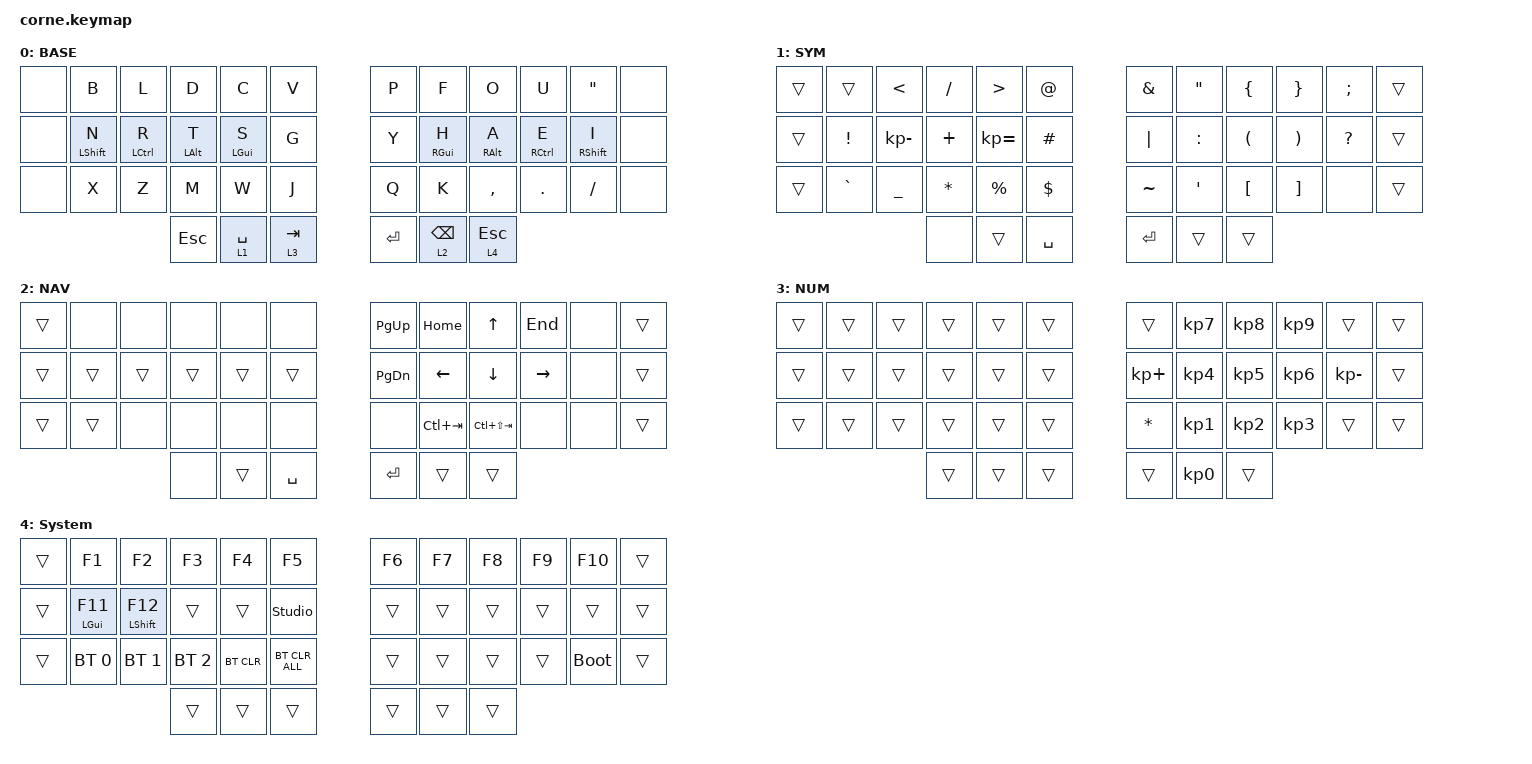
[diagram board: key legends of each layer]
#include <behaviors.dtsi>
#include <dt-bindings/zmk/bt.h>
#include <dt-bindings/zmk/keys.h>

#define BASE 0
#define SYM 1
#define NAV 2
#define NUM 3
#define ADJ 4

//testing mouse movement and scroll binds...

/ {
    behaviors {
        hm: homerow_mods {
            compatible = "zmk,behavior-hold-tap";
            label = "HOMEROW_MODS";
            #binding-cells = <2>;
            tapping-term-ms = <200>;
            quick_tap_ms = <0>;
            flavor = "tap-preferred";
            bindings = <&kp>, <&kp>;

            quick-tap-ms = <180>;
            global-quick-tap;
        };

        hm_250: homerow_mods_250 {
            compatible = "zmk,behavior-hold-tap";
            label = "HOMEROW_MODS_250";
            #binding-cells = <2>;
            tapping-term-ms = <250>;
            quick_tap_ms = <0>;
            flavor = "tap-preferred";
            bindings = <&kp>, <&kp>;

            quick-tap-ms = <180>;
            global-quick-tap;
        };

        para: para {
            compatible = "zmk,behavior-tap-dance";
            label = "PARA";
            #binding-cells = <0>;
            bindings = <&kp LEFT_PARENTHESIS>, <&kp RIGHT_PARENTHESIS>;
        };

        caps: caps {
            compatible = "zmk,behavior-caps-word";
            label = "CAPS";
            #binding-cells = <0>;
            continue-list = <MINUS BACKSPACE>;
        };

        paraless: paraless {
            compatible = "zmk,behavior-mod-morph";
            label = "PARALESS";
            bindings = <&kp LEFT_PARENTHESIS>, <&kp LESS_THAN>;

            #binding-cells = <0>;
            mods = <(MOD_LSFT)>;
        };

        paragreat: paragreat {
            compatible = "zmk,behavior-mod-morph";
            label = "PARAGREAT";
            bindings = <&kp RIGHT_PARENTHESIS>, <&kp GREATER_THAN>;

            #binding-cells = <0>;
            mods = <(MOD_LSFT)>;
        };
    };

    combos {
        compatible = "zmk,combos";

        combo_L_DB {
            bindings = <&kp B>;
            key-positions = <2 3>;
        };
    };

    //

    keymap {
        compatible = "zmk,keymap";

        Base {
            display-name = "BASE";

            // -----------------------------------------------------------------------------------------
            // |  Q  |  W  |  E  |  R  |  T  |   |  Y  |  U   |  I  |  O  |  P  |
            // |  A  |  S  |  D  |  F  |  G  |   |  H  |  J   |  K  |  L  |  ;  |
            // |  Z  |  X  |  C  |  V  |  B  |   |  N  |  M   |  ,  |  .  |  /  |
            // | GUI | CTRL | SHFT | LWR | SPC |   | ENT | RSE  | BKSP | ALT | ESC |

            bindings = <
&none  &kp B            &kp L        &kp D           &kp C        &kp V        &kp P    &kp F            &kp O         &kp U        &kp DOUBLE_QUOTES  &none
&none  &hm_250 LSHFT N  &hm LCTRL R  &hm LEFT_ALT T  &hm LGUI S   &kp G        &kp Y    &hm RGUI H       &hm RALT A    &hm RCTRL E  &hm_250 RSHFT I      &none
&none  &kp X            &kp Z        &kp M           &kp W        &kp J        &kp Q    &kp K            &kp COMMA     &kp DOT      &kp SLASH            &none
                                     &kp ESCAPE      &lt 1 SPACE  &lt 3 TAB    &kp RET  &lt 2 BACKSPACE  &lt 4 ESCAPE
            >;
        };

        SYM {
            display-name = "SYM";

            // -----------------------------------------------------------------------------------------
            // |  TAB |  1  |  2  |  3  |  4  |  5  |   |  6  |  7  |  8  |  9  |  0  | BKSP |
            // | BTCLR| BT1 | BT2 | BT3 | BT4 | BT5 |   | LFT | DWN |  UP | RGT |     |      |
            // | SHFT |     |     |     |     |     |   |     |     |     |     |     |      |
            // | GUI | CTRL | SHFT | LWR | SPC |   | ENT | RSE  | BKSP | ALT | ESC |

            bindings = <
&trans  &trans           &kp LESS_THAN   &kp SLASH     &kp GREATER_THAN  &kp AT_SIGN    &kp AMPERSAND  &kp DOUBLE_QUOTES  &kp LEFT_BRACE        &kp RIGHT_BRACE        &kp SEMICOLON  &trans
&trans  &kp EXCLAMATION  &kp KP_MINUS    &kp PLUS      &kp KP_EQUAL      &kp HASH       &kp PIPE       &kp COLON          &kp LEFT_PARENTHESIS  &kp RIGHT_PARENTHESIS  &kp QUESTION   &trans
&trans  &kp GRAVE        &kp UNDERSCORE  &kp ASTERISK  &kp PERCENT       &kp DOLLAR     &kp TILDE      &kp SQT            &kp LEFT_BRACKET      &kp RIGHT_BRACKET      &none          &trans
                                         &none         &trans            &kp SPACE      &kp RET        &trans             &trans
            >;
        };

        NAV {
            display-name = "NAV";

            // -----------------------------------------------------------------------------------------
            // |  TAB |  !  |  @  |  #  |  $  |  %  |   |  ^  |  &  |  *  |  (  |  )  | BKSP |
            // | CTRL |     |     |     |     |     |   |  -  |  =  |  [  |  ]  |  \  |  `   |
            // | SHFT |     |     |     |     |     |   |  _  |  +  |  {  |  }  | "|" |  ~   |
            //                    | GUI |     | SPC |   | ENT |     | ALT |

            bindings = <
&trans  &none   &none   &none   &none   &none        &kp PAGE_UP    &kp HOME     &kp UP_ARROW     &kp END    &none  &trans
&trans  &trans  &trans  &trans  &trans  &trans       &kp PAGE_DOWN  &kp LEFT     &kp DOWN         &kp RIGHT  &none  &trans
&trans  &trans  &none   &none   &none   &none        &none          &kp LC(TAB)  &kp LC(LS(TAB))  &none      &none  &trans
                        &none   &trans  &kp SPACE    &kp RET        &trans       &trans
            >;
        };

        NUM {
            bindings = <
&trans  &trans  &trans  &trans  &trans  &trans    &trans       &kp KP_NUMBER_7  &kp KP_NUMBER_8  &kp KP_NUMBER_9  &trans        &trans
&trans  &trans  &trans  &trans  &trans  &trans    &kp KP_PLUS  &kp KP_NUMBER_4  &kp KP_NUMBER_5  &kp KP_NUMBER_6  &kp KP_MINUS  &trans
&trans  &trans  &trans  &trans  &trans  &trans    &kp STAR     &kp KP_NUMBER_1  &kp KP_NUMBER_2  &kp KP_NUMBER_3  &trans        &trans
                        &trans  &trans  &trans    &trans       &kp KP_NUMBER_0  &trans
            >;

            label = "NUM";
        };

        ADJ {
            display-name = "System";
            bindings = <
&trans  &kp F1        &kp F2         &kp F3        &kp F4      &kp F5            &kp F6  &kp F7  &kp F8  &kp F9  &kp F10      &trans
&trans  &hm LGUI F11  &hm LSHFT F12  &trans        &trans      &studio_unlock    &trans  &trans  &trans  &trans  &trans       &trans
&trans  &bt BT_SEL 0  &bt BT_SEL 1   &bt BT_SEL 2  &bt BT_CLR  &bt BT_CLR_ALL    &trans  &trans  &trans  &trans  &bootloader  &trans
                                     &trans        &trans      &trans            &trans  &trans  &trans
            >;
        };
    };

    conditional_layers {
        compatible = "zmk,conditional-layers";

        l3 {
            if-layers = <1 2>;
            then-layer = <4>;
        };
    };
};
